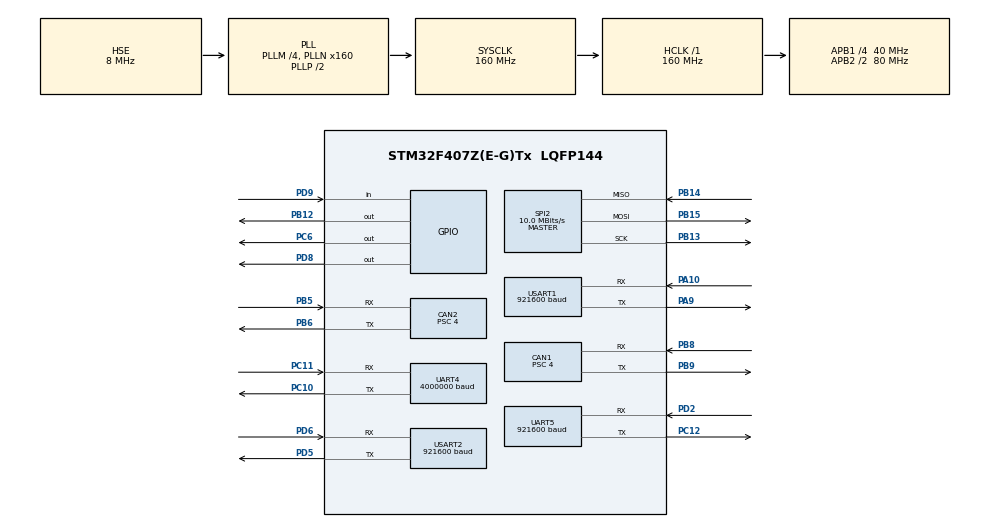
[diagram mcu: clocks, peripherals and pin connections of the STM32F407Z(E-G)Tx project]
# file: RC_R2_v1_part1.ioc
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CAN1.ABOM=ENABLE
CAN1.AWUM=ENABLE
CAN1.BS1=CAN_BS1_6TQ
CAN1.BS2=CAN_BS2_3TQ
CAN1.CalculateBaudRate=1000000
CAN1.CalculateTimeBit=1000
CAN1.CalculateTimeQuantum=100.0
CAN1.NART=ENABLE
CAN1.Prescaler=4
CAN1.TXFP=ENABLE
CAN2.ABOM=ENABLE
CAN2.AWUM=ENABLE
CAN2.BS1=CAN_BS1_6TQ
CAN2.BS2=CAN_BS2_3TQ
CAN2.CalculateBaudRate=1000000
CAN2.CalculateTimeBit=1000
CAN2.CalculateTimeQuantum=100.0
CAN2.NART=ENABLE
CAN2.Prescaler=4
CAN2.TXFP=ENABLE
Dma.Request0=USART1_RX
Dma.Request1=USART1_TX
Dma.Request2=UART4_RX
Dma.Request3=UART4_TX
Dma.Request4=USART2_RX
Dma.Request5=USART2_TX
Dma.Request6=UART5_RX
Dma.Request7=UART5_TX
Dma.UART4_RX.2.Direction=DMA_PERIPH_TO_MEMORY
Dma.UART4_RX.2.FIFOMode=DMA_FIFOMODE_DISABLE
Dma.UART4_RX.2.Instance=DMA1_Stream2
Dma.UART4_RX.2.MemDataAlignment=DMA_MDATAALIGN_BYTE
Dma.UART4_RX.2.MemInc=DMA_MINC_ENABLE
Dma.UART4_RX.2.Mode=DMA_NORMAL
Dma.UART4_RX.2.PeriphDataAlignment=DMA_PDATAALIGN_BYTE
Dma.UART4_RX.2.PeriphInc=DMA_PINC_DISABLE
Dma.UART4_RX.2.Priority=DMA_PRIORITY_LOW
Dma.UART4_TX.3.Direction=DMA_MEMORY_TO_PERIPH
Dma.UART4_TX.3.FIFOMode=DMA_FIFOMODE_DISABLE
Dma.UART4_TX.3.Instance=DMA1_Stream4
Dma.UART4_TX.3.MemDataAlignment=DMA_MDATAALIGN_BYTE
Dma.UART4_TX.3.MemInc=DMA_MINC_ENABLE
Dma.UART4_TX.3.Mode=DMA_NORMAL
Dma.UART4_TX.3.PeriphDataAlignment=DMA_PDATAALIGN_BYTE
Dma.UART4_TX.3.PeriphInc=DMA_PINC_DISABLE
Dma.UART4_TX.3.Priority=DMA_PRIORITY_LOW
Dma.UART5_RX.6.Direction=DMA_PERIPH_TO_MEMORY
Dma.UART5_RX.6.FIFOMode=DMA_FIFOMODE_DISABLE
Dma.UART5_RX.6.Instance=DMA1_Stream0
Dma.UART5_RX.6.MemDataAlignment=DMA_MDATAALIGN_BYTE
Dma.UART5_RX.6.MemInc=DMA_MINC_ENABLE
Dma.UART5_RX.6.Mode=DMA_NORMAL
Dma.UART5_RX.6.PeriphDataAlignment=DMA_PDATAALIGN_BYTE
Dma.UART5_RX.6.PeriphInc=DMA_PINC_DISABLE
Dma.UART5_RX.6.Priority=DMA_PRIORITY_LOW
Dma.UART5_TX.7.Direction=DMA_MEMORY_TO_PERIPH
Dma.UART5_TX.7.FIFOMode=DMA_FIFOMODE_DISABLE
Dma.UART5_TX.7.Instance=DMA1_Stream7
Dma.UART5_TX.7.MemDataAlignment=DMA_MDATAALIGN_BYTE
Dma.UART5_TX.7.MemInc=DMA_MINC_ENABLE
Dma.UART5_TX.7.Mode=DMA_NORMAL
Dma.UART5_TX.7.PeriphDataAlignment=DMA_PDATAALIGN_BYTE
Dma.UART5_TX.7.PeriphInc=DMA_PINC_DISABLE
Dma.UART5_TX.7.Priority=DMA_PRIORITY_LOW
Dma.USART1_RX.0.Direction=DMA_PERIPH_TO_MEMORY
Dma.USART1_RX.0.FIFOMode=DMA_FIFOMODE_DISABLE
Dma.USART1_RX.0.Instance=DMA2_Stream2
Dma.USART1_RX.0.MemDataAlignment=DMA_MDATAALIGN_BYTE
Dma.USART1_RX.0.MemInc=DMA_MINC_ENABLE
Dma.USART1_RX.0.Mode=DMA_NORMAL
Dma.USART1_RX.0.PeriphDataAlignment=DMA_PDATAALIGN_BYTE
Dma.USART1_RX.0.PeriphInc=DMA_PINC_DISABLE
Dma.USART1_RX.0.Priority=DMA_PRIORITY_LOW
Dma.USART1_TX.1.Direction=DMA_MEMORY_TO_PERIPH
Dma.USART1_TX.1.FIFOMode=DMA_FIFOMODE_DISABLE
Dma.USART1_TX.1.Instance=DMA2_Stream7
Dma.USART1_TX.1.MemDataAlignment=DMA_MDATAALIGN_BYTE
Dma.USART1_TX.1.MemInc=DMA_MINC_ENABLE
Dma.USART1_TX.1.Mode=DMA_NORMAL
Dma.USART1_TX.1.PeriphDataAlignment=DMA_PDATAALIGN_BYTE
Dma.USART1_TX.1.PeriphInc=DMA_PINC_DISABLE
Dma.USART1_TX.1.Priority=DMA_PRIORITY_LOW
Dma.USART2_RX.4.Direction=DMA_PERIPH_TO_MEMORY
Dma.USART2_RX.4.FIFOMode=DMA_FIFOMODE_DISABLE
Dma.USART2_RX.4.Instance=DMA1_Stream5
Dma.USART2_RX.4.MemDataAlignment=DMA_MDATAALIGN_BYTE
Dma.USART2_RX.4.MemInc=DMA_MINC_ENABLE
Dma.USART2_RX.4.Mode=DMA_NORMAL
Dma.USART2_RX.4.PeriphDataAlignment=DMA_PDATAALIGN_BYTE
Dma.USART2_RX.4.PeriphInc=DMA_PINC_DISABLE
Dma.USART2_RX.4.Priority=DMA_PRIORITY_LOW
Dma.USART2_TX.5.Direction=DMA_MEMORY_TO_PERIPH
Dma.USART2_TX.5.FIFOMode=DMA_FIFOMODE_DISABLE
Dma.USART2_TX.5.Instance=DMA1_Stream6
Dma.USART2_TX.5.MemDataAlignment=DMA_MDATAALIGN_BYTE
Dma.USART2_TX.5.MemInc=DMA_MINC_ENABLE
Dma.USART2_TX.5.Mode=DMA_NORMAL
Dma.USART2_TX.5.PeriphDataAlignment=DMA_PDATAALIGN_BYTE
Dma.USART2_TX.5.PeriphInc=DMA_PINC_DISABLE
Dma.USART2_TX.5.Priority=DMA_PRIORITY_LOW
FREERTOS.Tasks01=Task1,24,1024,TASK1,Default,NULL,Dynamic,NULL,NULL;Task2,24,1024,TASK2,Default,NULL,Dynamic,NULL,NULL;Task3,24,256,TASK3,Default,NULL,Dynamic,NULL,NULL;Task4,24,256,TASK4,Default,NULL,Dynamic,NULL,NULL;Task5,24,256,TASK5,Default,NULL,Dynamic,NULL,NULL;Task6,24,256,TASK6,Default,NULL,Dynamic,NULL,NULL
Mcu.Family=STM32F4
Mcu.Name=STM32F407Z(E-G)Tx
Mcu.Package=LQFP144
NVIC.CAN1_RX0_IRQn=true\:5\:0\:false\:false\:true\:true\:true\:true\:true
NVIC.CAN2_RX0_IRQn=true\:5\:0\:false\:false\:true\:true\:true\:true\:true
NVIC.DMA1_Stream0_IRQn=true\:5\:0\:false\:false\:true\:true\:false\:true\:true
NVIC.DMA1_Stream2_IRQn=true\:5\:0\:false\:false\:true\:true\:false\:true\:true
NVIC.DMA1_Stream4_IRQn=true\:5\:0\:false\:false\:true\:true\:false\:true\:true
NVIC.DMA1_Stream5_IRQn=true\:5\:0\:false\:false\:true\:true\:false\:true\:true
NVIC.DMA1_Stream6_IRQn=true\:5\:0\:false\:false\:true\:true\:false\:true\:true
NVIC.DMA1_Stream7_IRQn=true\:5\:0\:false\:false\:true\:true\:false\:true\:true
NVIC.DMA2_Stream2_IRQn=true\:5\:0\:false\:false\:true\:true\:false\:true\:true
NVIC.DMA2_Stream7_IRQn=true\:5\:0\:false\:false\:true\:true\:false\:true\:true
NVIC.PriorityGroup=NVIC_PRIORITYGROUP_4
NVIC.SPI2_IRQn=true\:5\:0\:false\:false\:true\:true\:true\:true\:true
NVIC.TIM2_IRQn=true\:5\:0\:false\:false\:true\:true\:true\:true\:true
NVIC.TIM6_DAC_IRQn=true\:15\:0\:false\:false\:true\:false\:false\:true\:true
NVIC.TimeBase=TIM6_DAC_IRQn
NVIC.TimeBaseIP=TIM6
NVIC.UART4_IRQn=true\:5\:0\:false\:false\:true\:true\:true\:true\:true
NVIC.UART5_IRQn=true\:5\:0\:false\:false\:true\:true\:true\:true\:true
NVIC.USART1_IRQn=true\:5\:0\:false\:false\:true\:true\:true\:true\:true
NVIC.USART2_IRQn=true\:5\:0\:false\:false\:true\:true\:true\:true\:true
PA10.GPIO_PuPd=GPIO_PULLUP
PA10.Mode=Asynchronous
PA10.Signal=USART1_RX
PA13.Mode=Serial_Wire
PA13.Signal=SYS_JTMS-SWDIO
PA14.Mode=Serial_Wire
PA14.Signal=SYS_JTCK-SWCLK
PA9.GPIO_PuPd=GPIO_PULLUP
PA9.Mode=Asynchronous
PA9.Signal=USART1_TX
PB12.GPIO_Speed=GPIO_SPEED_FREQ_VERY_HIGH
PB12.PinState=GPIO_PIN_SET
PB12.Signal=GPIO_Output
PB13.Mode=Full_Duplex_Master
PB13.Signal=SPI2_SCK
PB14.Mode=Full_Duplex_Master
PB14.Signal=SPI2_MISO
PB15.Mode=Full_Duplex_Master
PB15.Signal=SPI2_MOSI
PB5.GPIO_PuPd=GPIO_PULLUP
PB5.Mode=CAN_Activate
PB5.Signal=CAN2_RX
PB6.GPIO_PuPd=GPIO_PULLUP
PB6.Mode=CAN_Activate
PB6.Signal=CAN2_TX
PB8.GPIO_PuPd=GPIO_PULLUP
PB8.Mode=CAN_Activate
PB8.Signal=CAN1_RX
PB9.GPIO_PuPd=GPIO_PULLUP
PB9.Mode=CAN_Activate
PB9.Signal=CAN1_TX
PC10.GPIO_PuPd=GPIO_PULLUP
PC10.Mode=Asynchronous
PC10.Signal=UART4_TX
PC11.GPIO_PuPd=GPIO_PULLUP
PC11.Mode=Asynchronous
PC11.Signal=UART4_RX
PC12.GPIO_PuPd=GPIO_PULLUP
PC12.Mode=Asynchronous
PC12.Signal=UART5_TX
PC14-OSC32_IN.Mode=LSE-External-Oscillator
PC14-OSC32_IN.Signal=RCC_OSC32_IN
PC15-OSC32_OUT.Mode=LSE-External-Oscillator
PC15-OSC32_OUT.Signal=RCC_OSC32_OUT
PC6.GPIO_Speed=GPIO_SPEED_FREQ_VERY_HIGH
PC6.Signal=GPIO_Output
PD2.GPIO_PuPd=GPIO_PULLUP
PD2.Mode=Asynchronous
PD2.Signal=UART5_RX
PD5.GPIO_PuPd=GPIO_PULLUP
PD5.Mode=Asynchronous
PD5.Signal=USART2_TX
PD6.GPIO_PuPd=GPIO_PULLUP
PD6.Mode=Asynchronous
PD6.Signal=USART2_RX
PD8.GPIO_Speed=GPIO_SPEED_FREQ_VERY_HIGH
PD8.Signal=GPIO_Output
PD9.GPIO_PuPd=GPIO_PULLUP
PD9.Signal=GPIO_Input
PH0-OSC_IN.Mode=HSE-External-Oscillator
PH0-OSC_IN.Signal=RCC_OSC_IN
PH1-OSC_OUT.Mode=HSE-External-Oscillator
PH1-OSC_OUT.Signal=RCC_OSC_OUT
ProjectManager.HeapSize=0x200
ProjectManager.StackSize=0x400
ProjectManager.TargetToolchain=MDK-ARM V5.32
RCC.48MHZClocksFreq_Value=80000000
RCC.AHBFreq_Value=160000000
RCC.APB1CLKDivider=RCC_HCLK_DIV4
RCC.APB1Freq_Value=40000000
RCC.APB1TimFreq_Value=80000000
RCC.APB2CLKDivider=RCC_HCLK_DIV2
RCC.APB2Freq_Value=80000000
RCC.APB2TimFreq_Value=160000000
RCC.CortexFreq_Value=160000000
RCC.HCLKFreq_Value=160000000
RCC.HSE_VALUE=8000000
RCC.HSI_VALUE=16000000
RCC.PLLM=4
RCC.PLLN=160
RCC.PLLSourceVirtual=RCC_PLLSOURCE_HSE
RCC.SYSCLKFreq_VALUE=160000000
RCC.SYSCLKSource=RCC_SYSCLKSOURCE_PLLCLK
RCC.VCOOutputFreq_Value=320000000
SPI2.BaudRatePrescaler=SPI_BAUDRATEPRESCALER_4
SPI2.CalculateBaudRate=10.0 MBits/s
SPI2.Direction=SPI_DIRECTION_2LINES
SPI2.Mode=SPI_MODE_MASTER
SPI2.VirtualType=VM_MASTER
TIM2.AutoReloadPreload=TIM_AUTORELOAD_PRELOAD_ENABLE
TIM2.Period=999
TIM2.Prescaler=79
UART4.BaudRate=4000000
UART4.OverSampling=UART_OVERSAMPLING_8
UART4.VirtualMode=Asynchronous
UART5.BaudRate=921600
UART5.VirtualMode=Asynchronous
USART1.BaudRate=921600
USART1.VirtualMode=VM_ASYNC
USART2.BaudRate=921600
USART2.OverSampling=UART_OVERSAMPLING_8
USART2.VirtualMode=VM_ASYNC
VP_FREERTOS_VS_CMSIS_V2.Mode=CMSIS_V2
VP_SYS_VS_tim6.Mode=TIM6
VP_TIM2_VS_ClockSourceINT.Mode=Internal
board=custom

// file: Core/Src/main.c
/* USER CODE BEGIN Header */
/**
 ******************************************************************************
 * @file           : main.c
 * @brief          : Main program body
 ******************************************************************************
 * @attention
 *
 * Copyright (c) 2025 STMicroelectronics.
 * All rights reserved.
 *
 * This software is licensed under terms that can be found in the LICENSE file
 * in the root directory of this software component.
 * If no LICENSE file comes with this software, it is provided AS-IS.
 *
 ******************************************************************************
 */
/* USER CODE END Header */
#include "main.h"
#include "cmsis_os.h"
#include "can.h"
#include "dma.h"
#include "spi.h"
#include "tim.h"
#include "usart.h"
#include "gpio.h"

/* USER CODE BEGIN Includes */
#include "can_bsp.h"
#include "global_declare.h"
#include "algorithm.h"
#include "auto_path.h"
#include "gyro.h"
/* USER CODE END Includes */

void SystemClock_Config(void);
void MX_FREERTOS_Init(void);

int main(void)
{

  /* MCU Configuration--------------------------------------------------------*/

  /* Reset of all peripherals, Initializes the Flash interface and the Systick. */
  HAL_Init();

  /* Configure the system clock */
  SystemClock_Config();

  /* Initialize all configured peripherals */
  MX_GPIO_Init();
  MX_DMA_Init();
  MX_SPI2_Init();
  MX_USART1_UART_Init();
  MX_CAN1_Init();
  MX_CAN2_Init();
  MX_TIM2_Init();
  MX_UART4_Init();
  MX_USART2_UART_Init();
  MX_UART5_Init();
  /* USER CODE BEGIN 2 */
  __HAL_UART_ENABLE_IT(&huart1, UART_IT_IDLE);
  HAL_UART_Receive_DMA(&huart1, down_rx, 18);
//	__HAL_UART_DISABLE(&huart2);
//  __HAL_UART_FLUSH_DRREGISTER(&huart2);
//  __HAL_UART_CLEAR_OREFLAG(&huart2);
  HAL_UART_Receive_DMA(&huart2, UART2_Rx_Buf, 9);
  __HAL_UART_ENABLE_IT(&huart2, UART_IT_IDLE);
//  __HAL_UART_ENABLE(&huart2);

  __HAL_UART_ENABLE_IT(&huart5, UART_IT_IDLE);
  HAL_UART_Receive_DMA(&huart5, vision_rec, 62);
  HAL_UART_Receive_DMA(&huart4, (uint8_t *)&uart_rx_data, sizeof(RIS_MotorData_t));

  HAL_TIM_Base_Start_IT(&htim2);

  can1_start();
  can2_start();

  J60_MOTOR_ENABLE(&hcan2, &j60_motor_cmd_down);

  SET_NAV_PATH_PERMUTATION();
  /* USER CODE END 2 */

  /* Init scheduler */
  osKernelInitialize();  /* Call init function for freertos objects (in cmsis_os2.c) */
  MX_FREERTOS_Init();

  /* Start scheduler */
  osKernelStart();

  /* We should never get here as control is now taken by the scheduler */

  /* Infinite loop */
  while (1)
  {

  }
}

void SystemClock_Config(void)
{
  RCC_OscInitTypeDef RCC_OscInitStruct = {0};
  RCC_ClkInitTypeDef RCC_ClkInitStruct = {0};

  /** Configure the main internal regulator output voltage
  */
  __HAL_RCC_PWR_CLK_ENABLE();
  __HAL_PWR_VOLTAGESCALING_CONFIG(PWR_REGULATOR_VOLTAGE_SCALE1);

  /** Initializes the RCC Oscillators according to the specified parameters
  * in the RCC_OscInitTypeDef structure.
  */
  RCC_OscInitStruct.OscillatorType = RCC_OSCILLATORTYPE_HSE;
  RCC_OscInitStruct.HSEState = RCC_HSE_ON;
  RCC_OscInitStruct.PLL.PLLState = RCC_PLL_ON;
  RCC_OscInitStruct.PLL.PLLSource = RCC_PLLSOURCE_HSE;
  RCC_OscInitStruct.PLL.PLLM = 4;
  RCC_OscInitStruct.PLL.PLLN = 160;
  RCC_OscInitStruct.PLL.PLLP = RCC_PLLP_DIV2;
  RCC_OscInitStruct.PLL.PLLQ = 4;
  if (HAL_RCC_OscConfig(&RCC_OscInitStruct) != HAL_OK)
  {
    Error_Handler();
  }

  /** Initializes the CPU, AHB and APB buses clocks
  */
  RCC_ClkInitStruct.ClockType = RCC_CLOCKTYPE_HCLK|RCC_CLOCKTYPE_SYSCLK
                              |RCC_CLOCKTYPE_PCLK1|RCC_CLOCKTYPE_PCLK2;
  RCC_ClkInitStruct.SYSCLKSource = RCC_SYSCLKSOURCE_PLLCLK;
  RCC_ClkInitStruct.AHBCLKDivider = RCC_SYSCLK_DIV1;
  RCC_ClkInitStruct.APB1CLKDivider = RCC_HCLK_DIV4;
  RCC_ClkInitStruct.APB2CLKDivider = RCC_HCLK_DIV2;

  if (HAL_RCC_ClockConfig(&RCC_ClkInitStruct, FLASH_LATENCY_5) != HAL_OK)
  {
    Error_Handler();
  }
}

void HAL_TIM_PeriodElapsedCallback(TIM_HandleTypeDef *htim)
{
  if (htim->Instance == TIM6)
  {
    HAL_IncTick();
  }
}

void Error_Handler(void)
{
  __disable_irq();
  while (1)
  {
  }
}

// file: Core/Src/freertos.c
/* USER CODE BEGIN Header */
/**
 ******************************************************************************
 * File Name          : freertos.c
 * Description        : Code for freertos applications
 ******************************************************************************
 * @attention
 *
 * Copyright (c) 2025 STMicroelectronics.
 * All rights reserved.
 *
 * This software is licensed under terms that can be found in the LICENSE file
 * in the root directory of this software component.
 * If no LICENSE file comes with this software, it is provided AS-IS.
 *
 ******************************************************************************
 */
/* USER CODE END Header */

#include "FreeRTOS.h"
#include "task.h"
#include "main.h"
#include "cmsis_os.h"

/* USER CODE BEGIN Includes */
#include "global_declare.h"
#include "motor_dji_sdk.h"
#include "j60_sdk.h"
#include "go1_sdk.h"
#include "NRF24L01.h"
#include "remote_control.h"
#include "navigate.h"
#include "chassis.h"
#include "foot.h"
#include "board_communicate.h"
#include "vofa.h"
#include "vision.h"
#include "action.h"
#include "route_plan.h"
/* USER CODE END Includes */

/* USER CODE BEGIN Variables */
extern UART_HandleTypeDef huart1, huart4;
/* USER CODE END Variables */
/* Definitions for Task1 */
osThreadId_t Task1Handle;
const osThreadAttr_t Task1_attributes = {
    .name = "Task1",
    .stack_size = 1024 * 4,
    .priority = (osPriority_t)osPriorityNormal,
};
/* Definitions for Task2 */
osThreadId_t Task2Handle;
const osThreadAttr_t Task2_attributes = {
    .name = "Task2",
    .stack_size = 1024 * 4,
    .priority = (osPriority_t)osPriorityNormal,
};
/* Definitions for Task3 */
osThreadId_t Task3Handle;
const osThreadAttr_t Task3_attributes = {
    .name = "Task3",
    .stack_size = 256 * 4,
    .priority = (osPriority_t)osPriorityNormal,
};
/* Definitions for Task4 */
osThreadId_t Task4Handle;
const osThreadAttr_t Task4_attributes = {
    .name = "Task4",
    .stack_size = 256 * 4,
    .priority = (osPriority_t)osPriorityNormal,
};
/* Definitions for Task5 */
osThreadId_t Task5Handle;
const osThreadAttr_t Task5_attributes = {
    .name = "Task5",
    .stack_size = 256 * 4,
    .priority = (osPriority_t)osPriorityNormal,
};
/* Definitions for Task6 */
osThreadId_t Task6Handle;
const osThreadAttr_t Task6_attributes = {
    .name = "Task6",
    .stack_size = 256 * 4,
    .priority = (osPriority_t)osPriorityNormal,
};

void TASK1(void *argument);
void TASK2(void *argument);
void TASK3(void *argument);
void TASK4(void *argument);
void TASK5(void *argument);
void TASK6(void *argument);

void MX_FREERTOS_Init(void); /* (MISRA C 2004 rule 8.1) */

void MX_FREERTOS_Init(void)
{

  /* Create the thread(s) */
  /* creation of Task1 */
  Task1Handle = osThreadNew(TASK1, NULL, &Task1_attributes);

  /* creation of Task2 */
  Task2Handle = osThreadNew(TASK2, NULL, &Task2_attributes);

  /* creation of Task3 */
  Task3Handle = osThreadNew(TASK3, NULL, &Task3_attributes);

  /* creation of Task4 */
  Task4Handle = osThreadNew(TASK4, NULL, &Task4_attributes);

  /* creation of Task5 */
  Task5Handle = osThreadNew(TASK5, NULL, &Task5_attributes);

  /* creation of Task6 */
  Task6Handle = osThreadNew(TASK6, NULL, &Task6_attributes);

}

void TASK1(void *argument)
{
  /* USER CODE BEGIN TASK1 */

  /* Infinite loop */
  for (;;)
  {
    monitor.rate_cnt.task1++;
    Foot_WorkLoop();

    J60_LOOP_CONTROL(&hcan2, &j60_motor_cmd_down, foot.down_aim_angle, 0,cyt_vel + foot_g_feedforward.down, j60_motor_cmd_down.kp_, j60_motor_cmd_down.kd_, &j60_motor_data_down);
    HAL_GPIO_WritePin(GPIOC, GPIO_PIN_6, GPIO_PIN_SET);
    GO1_Tx(&go1_send_left, &huart4, foot.leftup_aim_angle, 0, foot_g_feedforward.leftup, go1_send_left.K_P, go1_send_left.K_W);
    osDelay(pdMS_TO_TICKS(1));
    HAL_GPIO_WritePin(GPIOC, GPIO_PIN_6, GPIO_PIN_SET);
    GO1_Tx(&go1_send_right, &huart4, foot.rightup_aim_angle, 0, foot_g_feedforward.rightup, go1_send_right.K_P, go1_send_right.K_W);
		CAN_SendCurrent(&hcan1, 0x1FF,backfoot_current,0,0,0);
    osDelay(pdMS_TO_TICKS(1));
  }
  /* USER CODE END TASK1 */
}

void TASK2(void *argument)
{
  /* USER CODE BEGIN TASK2 */
  /* Infinite loop */
  for (;;)
  {
    monitor.rate_cnt.task2++;
    Navigate_Task();
		backfoot_motor.Input_v=backfoot_vel;
		DJI_ControlLoop(&backfoot_motor);
		backfoot_current=ClipFloat(backfoot_motor.motor_current+backfoot_vel*K_backfoot_vel,-12300,12300);
    osDelay(pdMS_TO_TICKS(1));
  }
  /* USER CODE END TASK2 */
}

void TASK3(void *argument)
{
  /* USER CODE BEGIN TASK3 */
  // leftup_turn_motor.ControlLoop_State = MULTIPLE_LOOP;
  // rightup_turn_motor.ControlLoop_State = MULTIPLE_LOOP;
  // leftdown_turn_motor.ControlLoop_State = MULTIPLE_LOOP;
  // rightdown_turn_motor.ControlLoop_State = MULTIPLE_LOOP;
  /* Infinite loop */
  for (;;)
  {
    monitor.rate_cnt.task3++;
    CS_Run();

    Drive_Chassis();

    // leftup_turn_motor.Input = steer_pos.leftup * TURN_GEAR_RATIO;
    // leftdown_turn_motor.Input = steer_pos.leftdown * TURN_GEAR_RATIO;
    // rightdown_turn_motor.Input = steer_pos.rightdown * TURN_GEAR_RATIO;
    // rightup_turn_motor.Input = steer_pos.rightup * TURN_GEAR_RATIO;

    // DJI_ControlLoop(&leftup_turn_motor);
    // DJI_ControlLoop(&rightdown_turn_motor);
    // DJI_ControlLoop(&rightup_turn_motor);
    // DJI_ControlLoop(&leftdown_turn_motor);

    // CAN_SendCurrent(&hcan2, 0x200, leftup_turn_motor.motor_current, 0, rightup_turn_motor.motor_current, 0);
    // CAN_SendCurrent(&hcan1, 0X200, leftdown_turn_motor.motor_current, 0, rightdown_turn_motor.motor_current, 0);

    osDelay(pdMS_TO_TICKS(1));
  }
  /* USER CODE END TASK3 */
}

void TASK4(void *argument)
{
  /* USER CODE BEGIN TASK4 */
  /* Infinite loop */
  for (;;)
  {
    monitor.rate_cnt.task4++;
    Vision_Transmit();
    Route_Update();
    Upper_Lower_Communication();

    VOFA_pack_data();
    VOFA_transmit_data(vofa, 20);

    osDelay(pdMS_TO_TICKS(1));
  }
  /* USER CODE END TASK4 */
}

void TASK5(void *argument)
{
  /* USER CODE BEGIN TASK5 */
  /* Infinite loop */
  for (;;)
  {
    monitor.rate_cnt.task5++;

//    if (!NRF24L01_Check() && !FLAG_NRF)
//    {
//      NRF24L01_RX_Mode();
//      FLAG_NRF = 1;
//    }

//    if (FLAG_NRF == 1)
//    {
//      nRF24L01_ack_pay.Ack_Channel = 0;
//      nRF24L01_ack_pay.Ack_Status = 3;
//      nRF24L01_ack_pay.Ack_Len = ACK_PLOAD_WIDTH;

//      parseDataPacket(nRF24L01_RxBuf, &Js_Value);
//      Deal_Key_State(&Js_Value);

//      NRF24L01_RxPacket(nRF24L01_RxBuf);
//      Send_To_RemoteControl();
//      NRF24L01_Rx_AckPayload(nRF24L01_ack_pay);

//      time_cnt = tim_ms;
//      if (time_cnt - time_cnt_pre >= 1000)
//      {
//        NRF24L01_RX_Mode();
//        time_cnt_pre = time_cnt;
//      }
//    }
Send_To_RemoteControl();//发送
    osDelay(pdMS_TO_TICKS(1));
  }
  /* USER CODE END TASK5 */
}

void TASK6(void *argument)
{
  /* USER CODE BEGIN TASK6 */
  /* Infinite loop */
  for (;;)
  {
    monitor.rate_cnt.task6++;
		if(flag_route_plan)
    {
			Step_State();
			Route_Plan_choose();
			Block_Plan();
			flag_route_plan=0;
		}
		if(flag_path_to_zero)
    {
			memset(&step_state, 0, sizeof(STEP_STATE));
			memset(&route_plan, 0, sizeof(ROUTE_PLAN));
			flag_path_to_zero=0;
		}

    Action_choose();
    osDelay(pdMS_TO_TICKS(1));
  }
  /* USER CODE END TASK6 */
}
